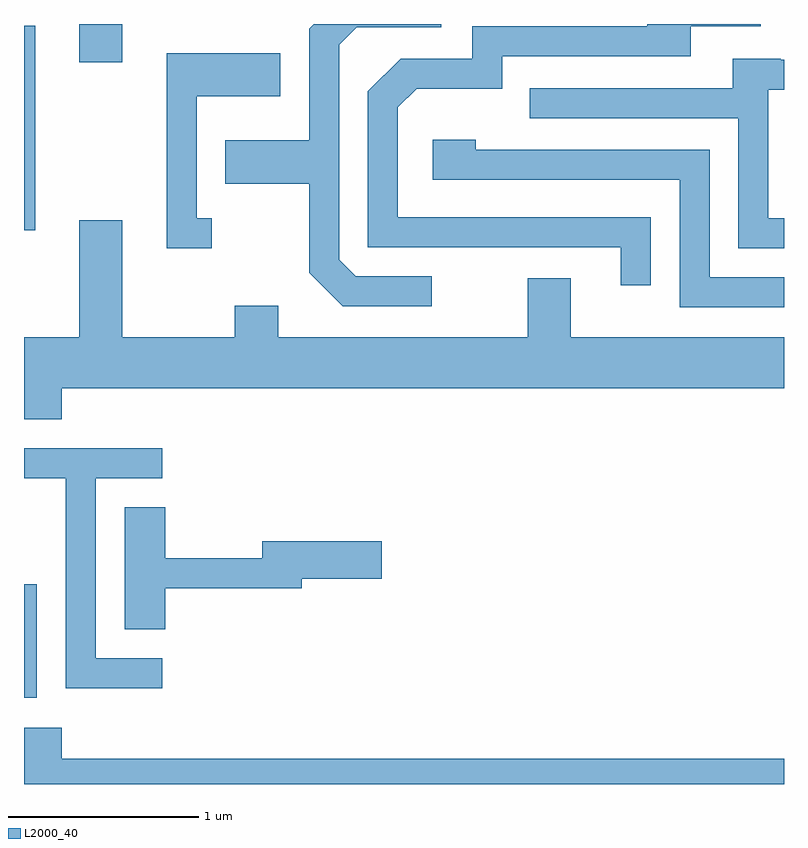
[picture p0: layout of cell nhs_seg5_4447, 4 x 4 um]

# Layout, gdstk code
import gdstk
lib = gdstk.Library(unit=1e-6, precision=1e-09)
def R(c, l, rs):  # rectangles x0, y0, x1, y1
    for r in rs: c.add(gdstk.rectangle(r[:2], r[2:], *l))
def P(c, l, *ps):  # polygons
    for p in ps: c.add(gdstk.Polygon(p, *l))
L2000_40 = (2000, 40)

nhs_seg5_4447 = lib.new_cell('nhs_seg5_4447')
R(nhs_seg5_4447, L2000_40, [(317.611,1428.526,317.679,1429.124), (317.611,1430.986,317.669,1432.064), (317.901,1431.871,318.129,1432.072)])
P(nhs_seg5_4447, L2000_40, [(320.909,1431.054),(319.579,1431.054),(319.579,1431.634),(319.677,1431.731),(320.129,1431.731),(320.129,1431.901),(321.119,1431.901),(321.119,1432.061),(321.488,1432.061),(321.488,1432.072),(320.891,1432.072),(320.891,1432.059),(319.971,1432.059),(319.971,1431.889),(319.594,1431.889),(319.421,1431.717),(319.421,1430.896),(320.751,1430.896),(320.751,1430.698),(320.909,1430.698)],
  [(319.758,1430.744),(319.357,1430.744),(319.269,1430.832),(319.269,1431.964),(319.362,1432.056),(319.808,1432.056),(319.808,1432.072),(319.136,1432.072),(319.111,1432.047),(319.111,1431.459),(318.671,1431.459),(318.671,1431.231),(319.111,1431.231),(319.111,1430.764),(319.289,1430.586),(319.758,1430.586)],
  [(318.598,1431.049),(318.519,1431.049),(318.519,1431.691),(318.959,1431.691),(318.959,1431.919),(318.361,1431.919),(318.361,1430.891),(318.598,1430.891)],
  [(321.611,1431.049),(321.529,1431.049),(321.529,1431.726),(321.611,1431.726),(321.611,1431.884),(321.595,1431.884),(321.595,1431.889),(321.341,1431.889),(321.341,1431.734),(320.273,1431.734),(320.273,1431.576),(321.371,1431.576),(321.371,1430.891),(321.611,1430.891)],
  [(321.611,1430.739),(321.219,1430.739),(321.219,1431.409),(319.989,1431.409),(319.989,1431.464),(319.761,1431.464),(319.761,1431.251),(321.061,1431.251),(321.061,1430.581),(321.611,1430.581)],
  [(317.809,1430.156),(321.611,1430.156),(321.611,1430.424),(320.489,1430.424),(320.489,1430.734),(320.261,1430.734),(320.261,1430.424),(318.949,1430.424),(318.949,1430.589),(318.721,1430.589),(318.721,1430.424),(318.129,1430.424),(318.129,1431.039),(317.901,1431.039),(317.901,1430.424),(317.611,1430.424),(317.611,1429.991),(317.809,1429.991)],
  [(318.338,1428.734),(317.989,1428.734),(317.989,1429.681),(318.338,1429.681),(318.338,1429.839),(317.611,1429.839),(317.611,1429.681),(317.831,1429.681),(317.831,1428.576),(318.338,1428.576)],
  [(318.354,1429.101),(319.074,1429.101),(319.074,1429.151),(319.494,1429.151),(319.494,1429.349),(318.866,1429.349),(318.866,1429.259),(318.354,1429.259),(318.354,1429.529),(318.141,1429.529),(318.141,1428.886),(318.354,1428.886)],
  [(317.809,1428.369),(317.611,1428.369),(317.611,1428.072),(321.611,1428.072),(321.611,1428.204),(317.809,1428.204)])

lib.write_gds('nhs_seg5_4447.gds')
